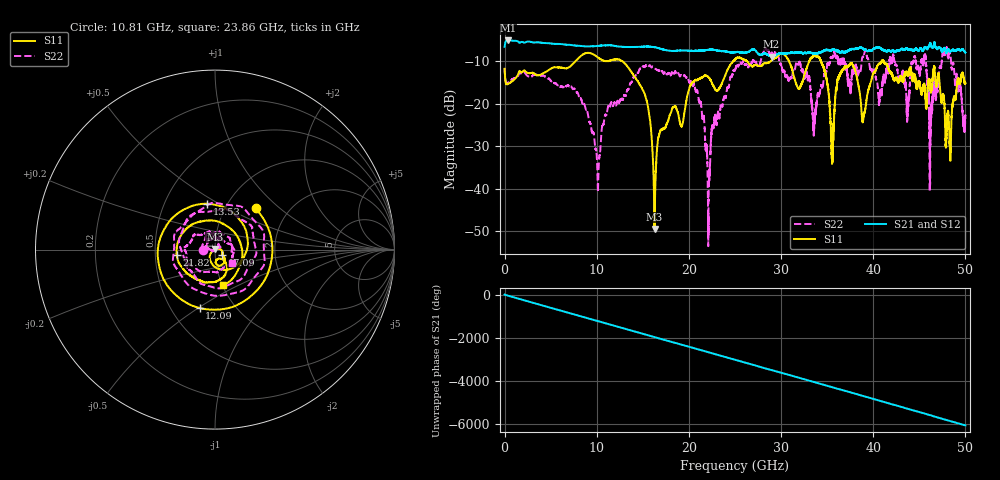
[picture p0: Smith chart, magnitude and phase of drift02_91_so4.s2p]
!Created with skrf (http://scikit-rf.org).
# Hz S RI R 50.0
!freq ReS11 ImS11 ReS21 ImS21 ReS12 ImS12 ReS22 ImS22
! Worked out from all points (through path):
!   10001 points, 300 kHz to 50 GHz, reference 50 ohm
!   highest |S21| = -5.04 dB at 375.3 MHz (marker M1); lowest = -8.9 dB at 28.98 GHz (marker M2)
!   group delay of S21, straight-line fit = 336 ps
!   lowest |S11| = -49.5 dB at 16.27 GHz (marker M3), VSWR 1.01, Z = 49.8 + j0.295 ohm
!   |S11| at or under -10 dB: start of sweep to 7.668 GHz; 12.82 GHz to 24.78 GHz (11.96 GHz wide, 63.6 % of centre); 41.13 GHz to end of sweep (the widest 3 of 10)
!   |S22| runs from -53.5 to -6.6 dB; largest |S21 - S12| = 0.03
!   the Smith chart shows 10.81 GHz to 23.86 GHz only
!   S11 on the Smith chart (normalised r, x): 10.81 GHz: 1.38, +0.70; 12.09 GHz: 0.69, -0.51; 13.53 GHz: 0.81, +0.44; 17.09 GHz: 1.08, -0.06; 21.82 GHz: 0.65, -0.04; 23.86 GHz: 1.01, -0.42
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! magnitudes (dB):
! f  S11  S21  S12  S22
! 300 kHz  -11.7  -6.5  -6.5  -11.6
! 375.3 MHz  -15.2  -5.0  -5.0  -15.0
! 8.335 GHz  -8.6  -6.4  -6.4  -19.1
! 10.1 GHz  -9.0  -6.3  -6.3  -39.0
! 10.81 GHz  -9.8  -6.2  -6.2  -23.7
! 12.09 GHz  -9.4  -6.4  -6.4  -20.4
! 13.53 GHz  -11.8  -6.6  -6.6  -16.0
! 16.27 GHz  -49.5  -6.6  -6.6  -11.7
! 16.67 GHz  -28.0  -6.8  -6.8  -12.1
! 17.09 GHz  -26.1  -7.1  -7.1  -12.3
! 21.82 GHz  -13.3  -7.3  -7.3  -30.6
! 23.86 GHz  -13.8  -7.6  -7.6  -18.3
! 25 GHz  -9.6  -7.8  -7.8  -12.0
! 28.98 GHz  -9.8  -8.9  -8.8  -8.0
! 33.34 GHz  -9.0  -8.0  -8.0  -20.4
! 35.55 GHz  -30.9  -7.2  -7.2  -9.1
! 36.78 GHz  -11.9  -7.8  -7.9  -9.9
! 41.67 GHz  -11.9  -7.4  -7.5  -12.0
! 45.5 GHz  -15.4  -6.9  -6.9  -9.7
! 46.25 GHz  -17.4  -6.1  -6.1  -22.9
! 48.12 GHz  -22.3  -7.2  -7.1  -9.2
! 50 GHz  -15.1  -7.9  -7.8  -22.9
